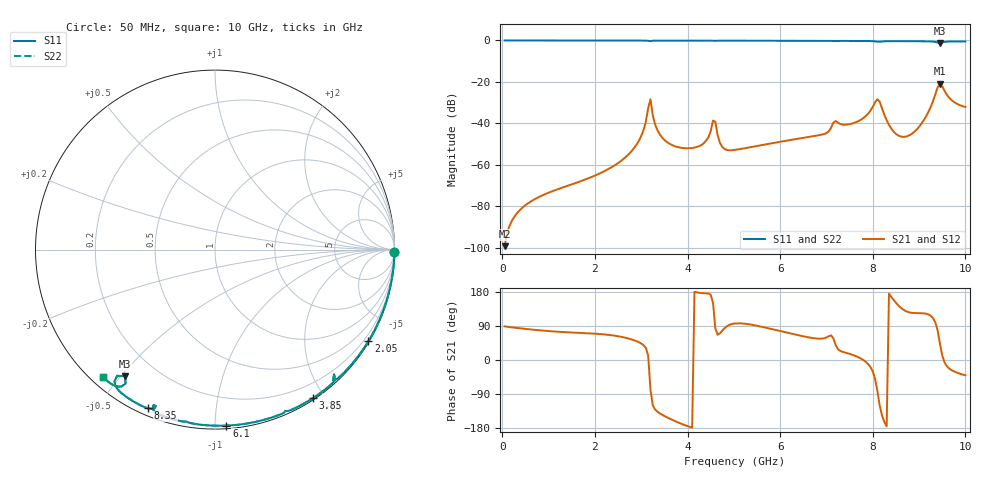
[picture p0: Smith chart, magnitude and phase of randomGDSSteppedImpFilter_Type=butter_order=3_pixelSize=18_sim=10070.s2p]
! freq	dB(S11)	phase(S11)	dB(S12)	phase(S12)
!  dB(S21)	phase(S21)	dB(S22)	phase(S22)
!S-par simulation data
#  GHz  S  DB  R 50
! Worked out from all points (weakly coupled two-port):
!   200 points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, 50 MHz to 10 GHz, reference 50 ohm
!   highest |S21| = -20.82 dB at 9.45 GHz (marker M1); lowest = -99.3 dB at 50 MHz (marker M2)
!   lowest |S11| = -1.2 dB at 9.45 GHz (marker M3), VSWR 13.92, Z = 4.54 - j25.7 ohm
!   |S11| at or under -10 dB: nowhere
!   |S22| runs from -1.3 to 0.0 dB; largest |S21 - S12| = 0
!   S11 on the Smith chart (normalised r, x): 50 MHz: open; 2.05 GHz: 0.03, -3.62; 3.85 GHz: 0.02, -1.86; 6.1 GHz: 0.02, -1.07; 8.35 GHz: 0.03, -0.66; 10 GHz: 0.03, -0.45
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0.05  -0.00 -0.8  -99.26 88.9  -99.26 88.9  -0.00 -0.8
1.75  -0.03 -26.4  -67.44 71.1  -67.44 71.1  -0.03 -26.4
2.05  -0.04 -30.9  -64.72 69.0  -64.72 69.0  -0.04 -30.9
2.9  -0.06 -43.4  -50.23 49.7  -50.23 49.7  -0.06 -43.4
3.05  -0.07 -45.7  -43.22 39.1  -43.22 39.1  -0.07 -45.7
3.2  -0.36 -46.3  -28.37 -78.6  -28.37 -78.6  -0.36 -46.3
3.3  -0.08 -48.3  -40.53 -130.6  -40.53 -130.6  -0.08 -48.3
3.4  -0.07 -50.0  -45.31 -140.8  -45.31 -140.8  -0.07 -50.0
3.85  -0.08 -56.5  -51.74 -167.5  -51.74 -167.5  -0.08 -56.5
4.35  -0.09 -63.4  -49.59 176.2  -49.59 176.2  -0.09 -63.4
4.55  -0.16 -66.4  -38.64 151.4  -38.64 151.4  -0.16 -66.4
4.75  -0.11 -68.6  -51.39 77.6  -51.39 77.6  -0.11 -68.6
5.05  -0.11 -72.6  -52.71 96.4  -52.71 96.4  -0.11 -72.7
6.1  -0.15 -86.3  -48.50 73.6  -48.50 73.6  -0.15 -86.3
6.7  -0.18 -93.8  -46.24 58.0  -46.24 58.0  -0.18 -93.8
7.75  -0.25 -106.9  -38.18 3.4  -38.18 3.4  -0.25 -106.9
8.1  -0.62 -111.6  -28.32 -82.1  -28.32 -82.1  -0.62 -111.6
8.35  -0.36 -112.9  -40.71 175.1  -40.71 175.1  -0.36 -112.9
8.6  -0.34 -116.2  -46.31 138.5  -46.31 138.5  -0.34 -116.3
8.9  -0.37 -120.1  -44.02 123.9  -44.02 123.9  -0.37 -120.1
9.45  -1.25 -125.4  -20.82 43.7  -20.82 43.7  -1.25 -125.4
10  -0.48 -131.4  -32.10 -40.4  -32.10 -40.4  -0.48 -131.4
